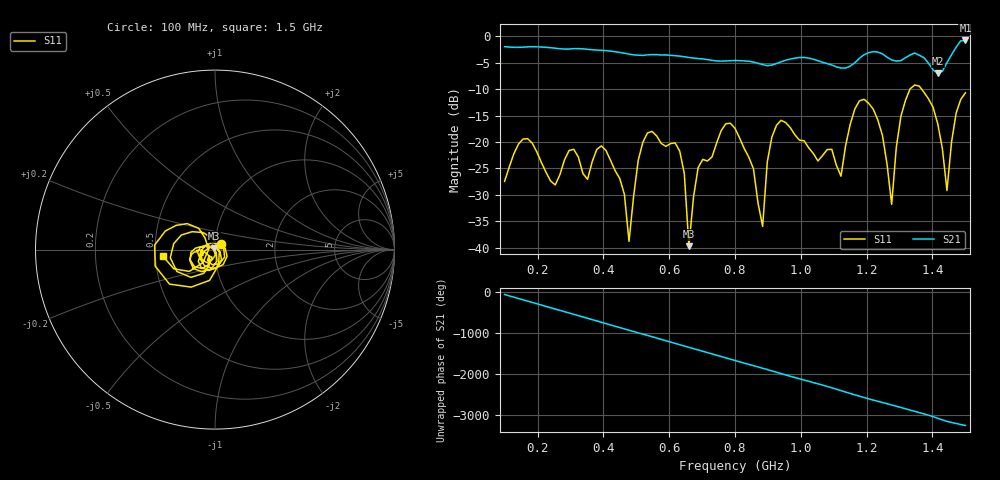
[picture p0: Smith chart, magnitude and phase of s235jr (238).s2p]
! NanoVNA-App
! Date: 2025-09-25 15:06:01
! Start: 100MHz Stop: 1,5GHz Points: 101
! S-Parameter data: F S11 S21 S12 S22
# Hz S RI R 50
!  Frequency  S11_Real  S11_Imag  S21_Real  S21_Imag  S12_Real  S12_Imag  S22_Real  S22_Imag
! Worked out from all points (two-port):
!   101 points, 100 MHz to 1.5 GHz, reference 50 ohm
!   highest |S21| = -0.79 dB at 1.5 GHz (marker M1); lowest = -7.0 dB at 1.416 GHz (marker M2)
!   |S21| within 3 dB of the highest: start of sweep to 636.6 MHz; 1.186 GHz to 1.258 GHz (72.39 MHz wide, 5.92 % of centre) (the widest 2 of 4)
!   lowest |S11| = -39.7 dB at 660 MHz (marker M3), VSWR 1.02, Z = 49.2 + j0.637 ohm
!   |S11| at or under -10 dB: start of sweep to 1.332 GHz; 1.367 GHz to end of sweep
!   S12 and S22 are empty: the file has one direction only
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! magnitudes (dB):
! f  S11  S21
! 100 MHz  -27.5  -2.0
! 156 MHz  -19.5  -2.1
! 338 MHz  -26.0  -2.4
! 408 MHz  -21.6  -2.7
! 478 MHz  -38.8  -3.4
! 520 MHz  -20.1  -3.6
! 576 MHz  -20.3  -3.5
! 632 MHz  -21.7  -3.7
! 660 MHz  -39.7  -4.0
! 688 MHz  -24.9  -4.2
! 800 MHz  -17.4  -4.6
! 884 MHz  -36.0  -5.4
! 926 MHz  -16.9  -5.2
! 1.038 GHz  -22.2  -4.3
! 1.122 GHz  -26.5  -6.0
! 1.192 GHz  -11.9  -3.5
! 1.248 GHz  -18.8  -3.3
! 1.276 GHz  -31.8  -4.5
! 1.332 GHz  -9.9  -3.5
! 1.416 GHz  -16.6  -7.0
! 1.444 GHz  -29.2  -5.0
! 1.5 GHz  -10.7  -0.8
